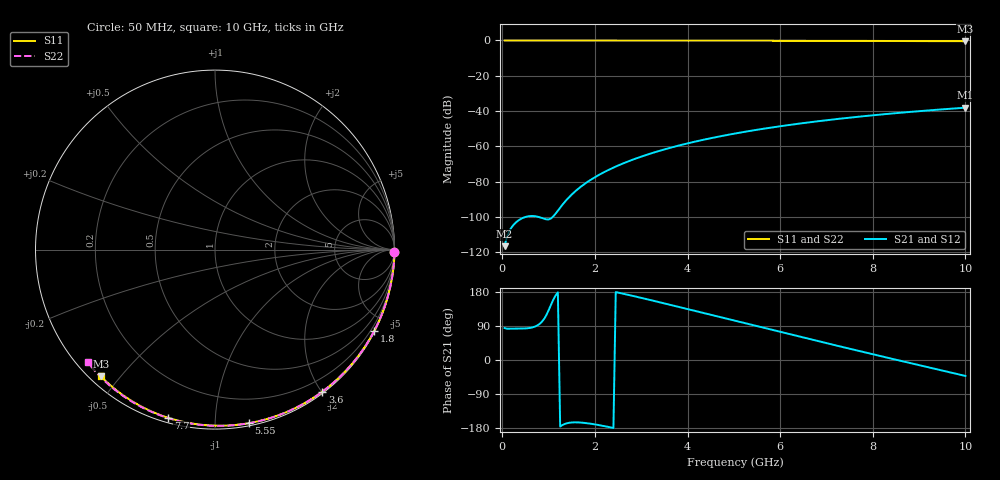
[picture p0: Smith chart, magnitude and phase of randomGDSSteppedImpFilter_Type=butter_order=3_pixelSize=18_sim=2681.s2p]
! freq	dB(S11)	phase(S11)	dB(S12)	phase(S12)
!  dB(S21)	phase(S21)	dB(S22)	phase(S22)
!S-par simulation data
#  GHz  S  DB  R 50
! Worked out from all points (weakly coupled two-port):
!   200 points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, 50 MHz to 10 GHz, reference 50 ohm
!   highest |S21| = -38.12 dB at 10 GHz (marker M1); lowest = -116.6 dB at 50 MHz (marker M2)
!   lowest |S11| = -0.4 dB at 10 GHz (marker M3), VSWR 38.97, Z = 1.54 - j22.3 ohm
!   |S11| at or under -10 dB: nowhere
!   |S22| runs from -0.5 to 0.0 dB; largest |S21 - S12| = 0
!   S11 on the Smith chart (normalised r, x): 50 MHz: open; 1.8 GHz: 0.04, -4.16; 3.6 GHz: 0.02, -2.01; 5.55 GHz: 0.02, -1.21; 7.7 GHz: 0.02, -0.76; 10 GHz: 0.03, -0.45
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0.05  -0.00 -0.8  -116.64 84.3  -116.64 84.3  -0.00 -0.8
0.45  -0.01 -6.9  -100.56 83.0  -100.56 83.0  -0.01 -7.2
0.9  -0.02 -13.6  -101.10 107.9  -101.10 107.9  -0.02 -14.3
1.75  -0.03 -26.3  -81.87 -165.7  -81.87 -165.7  -0.04 -27.6
1.8  -0.03 -27.0  -80.92 -166.4  -80.92 -166.4  -0.04 -28.4
1.85  -0.04 -27.8  -80.03 -167.1  -80.03 -167.1  -0.04 -29.2
2.15  -0.04 -32.2  -75.34 -173.2  -75.34 -173.2  -0.04 -33.8
2.35  -0.05 -35.1  -72.70 -178.1  -72.70 -178.1  -0.05 -36.8
2.55  -0.05 -38.0  -70.36 176.6  -70.36 176.6  -0.05 -39.9
2.95  -0.06 -43.7  -66.33 165.4  -66.33 165.4  -0.06 -45.9
3.4  -0.07 -50.1  -62.54 152.3  -62.54 152.3  -0.07 -52.5
3.6  -0.07 -52.9  -61.05 146.4  -61.05 146.4  -0.07 -55.4
3.9  -0.08 -57.0  -59.00 137.4  -59.00 137.4  -0.08 -59.8
4.3  -0.09 -62.5  -56.56 125.4  -56.56 125.4  -0.09 -65.5
5.05  -0.11 -72.5  -52.65 102.7  -52.65 102.7  -0.12 -75.9
5.55  -0.13 -79.0  -50.43 87.7  -50.43 87.7  -0.14 -82.7
6.1  -0.15 -86.0  -48.27 71.2  -48.27 71.2  -0.16 -90.0
6.7  -0.18 -93.4  -46.18 53.3  -46.18 53.3  -0.19 -97.8
7.7  -0.24 -105.5  -43.22 23.9  -43.22 23.9  -0.25 -110.4
8.35  -0.29 -113.1  -41.57 5.1  -41.57 5.1  -0.30 -118.4
9.2  -0.36 -122.9  -39.67 -19.3  -39.67 -19.3  -0.38 -128.8
10  -0.45 -131.9  -38.12 -42.0  -38.12 -42.0  -0.47 -138.4
